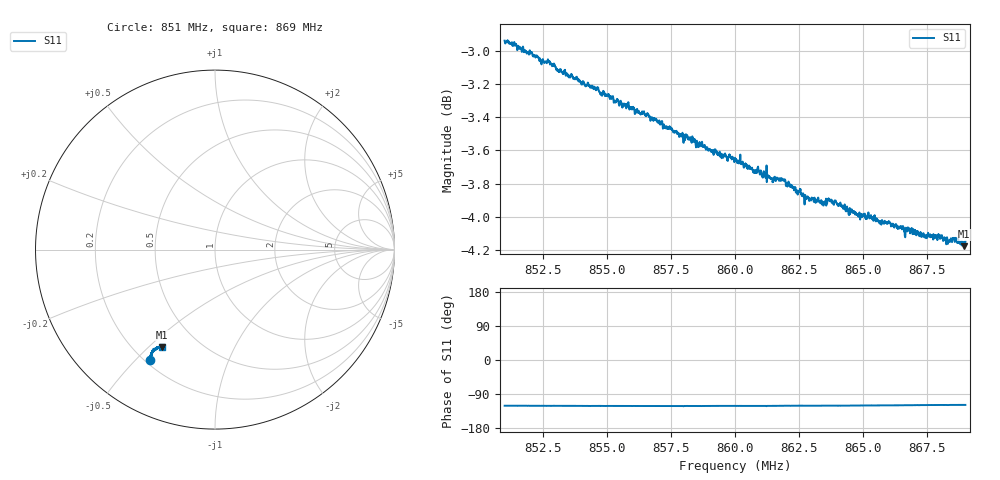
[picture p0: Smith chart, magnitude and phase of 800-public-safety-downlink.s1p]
! Calibrated averaged scanner-service zoom
# Hz S RI R 50
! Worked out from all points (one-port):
!   2001 points, 851 MHz to 869 MHz, reference 50 ohm
!   lowest |S11| = -4.2 dB at 868.95 MHz (marker M1), VSWR 4.24, Z = 15.6 - j27.5 ohm
!   |S11| at or under -10 dB: nowhere
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8.51e8  -0.3631 -0.6134
8.51396e8  -0.3622 -0.6119
8.5325e8  -0.359 -0.5979
8.54348e8  -0.3592 -0.5891
8.54753e8  -0.3574 -0.5863
8.555e8  -0.3541 -0.5828
8.57399e8  -0.3509 -0.5714
8.5775e8  -0.3473 -0.5711
8.57921e8  -0.3487 -0.57
8.5811e8  -0.348 -0.5696
8.59019e8  -0.3453 -0.5641
8.59424e8  -0.3387 -0.5639
8.6e8  -0.3391 -0.5631
8.61278e8  -0.3344 -0.5559
8.6189e8  -0.33 -0.5564
8.6225e8  -0.329 -0.5538
8.62628e8  -0.3264 -0.551
8.62808e8  -0.3254 -0.5504
8.63879e8  -0.3215 -0.5499
8.64077e8  -0.3226 -0.5487
8.645e8  -0.3194 -0.5457
8.65247e8  -0.3143 -0.5474
8.66336e8  -0.3093 -0.5454
8.6675e8  -0.3054 -0.5469
8.6738e8  -0.3018 -0.5448
8.6801e8  -0.2983 -0.5451
8.68946e8  -0.296 -0.5428
8.69e8  -0.2958 -0.5452
